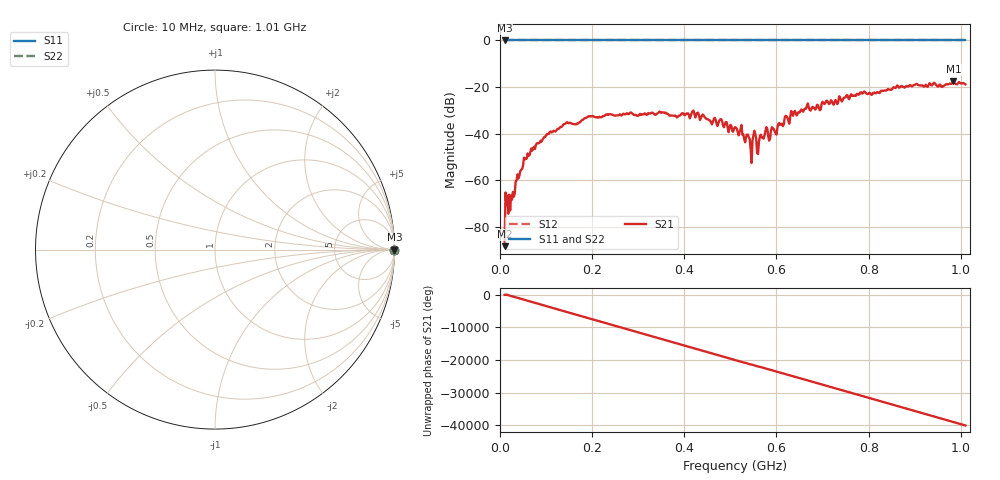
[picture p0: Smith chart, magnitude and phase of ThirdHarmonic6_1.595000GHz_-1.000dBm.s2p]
! 8/16/2025 7:00:38 PM
! C:\ANRITSUVNA\TEMP\TEMP.S2P
! CHANNEL.1
! TR.MEASUREMENT
! RAW.DATA
! RF.CORRECTION.OFF
! AVERAGING.OFF
! IF.BANDWIDTH: 5KHZ
! SWEEPTYPE:  FREQ.SWEEP(Linear)
! Reference Plane Port Info
! PORT:  PORT1  PORT2
! DISTANCE:  0  m  0  m
! TIME:  0  s  0  s
! PHASE.OFFSET:  0  deg.  0  deg.
! LOSS:  0  dB  0  dB
! REF.LOSS:  0  dB  0  dB
! REF.FREQ:  0  Hz  0  Hz
! Power Info
! POWER:  -20  dBm  -20  dBm
! EFF.POWER:  -20  dBm  -20  dBm
! SOURCE.ATTEN:  0  dB  0  dB
! TEST.ATTEN:  0  dB  0  dB
# GHZ S RI R 50.0
! FREQ.GHZ  S11RE  S11IM  S21RE  S21IM  S12RE  S12IM  S22RE  S22IM
!; PortSelection: Port_12
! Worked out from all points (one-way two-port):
!   501 points, 10 MHz to 1.01 GHz, reference 50 ohm
!   highest |S21| = -17.56 dB at 984 MHz (marker M1); lowest = -88.2 dB at 10 MHz (marker M2)
!   lowest |S11| = 0.0 dB at 10 MHz (marker M3)
!   |S11| at or under -10 dB: nowhere
!   |S22| runs from 0.0 to 0.0 dB; largest |S21 - S12| = 1.1
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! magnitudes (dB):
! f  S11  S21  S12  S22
! 10 MHz  0.0  -88.2  0.0  0.0
! 16 MHz  0.0  -66.5  0.0  0.0
! 22 MHz  0.0  -73.0  0.0  0.0
! 56 MHz  0.0  -50.7  0.0  0.0
! 70 MHz  0.0  -47.3  0.0  0.0
! 142 MHz  0.0  -35.7  0.0  0.0
! 178 MHz  0.0  -34.2  0.0  0.0
! 344 MHz  0.0  -30.9  0.0  0.0
! 418 MHz  0.0  -30.3  0.0  0.0
! 510 MHz  0.0  -37.2  0.0  0.0
! 538 MHz  0.0  -40.4  0.0  0.0
! 544 MHz  0.0  -46.8  0.0  0.0
! 552 MHz  0.0  -38.7  0.0  0.0
! 560 MHz  0.0  -48.7  0.0  0.0
! 576 MHz  0.0  -38.8  0.0  0.0
! 598 MHz  0.0  -39.8  0.0  0.0
! 636 MHz  0.0  -32.3  0.0  0.0
! 678 MHz  0.0  -28.5  0.0  0.0
! 786 MHz  0.0  -22.8  0.0  0.0
! 844 MHz  0.0  -21.0  0.0  0.0
! 984 MHz  0.0  -17.6  0.0  0.0
! 1.01 GHz  0.0  -18.8  0.0  0.0
